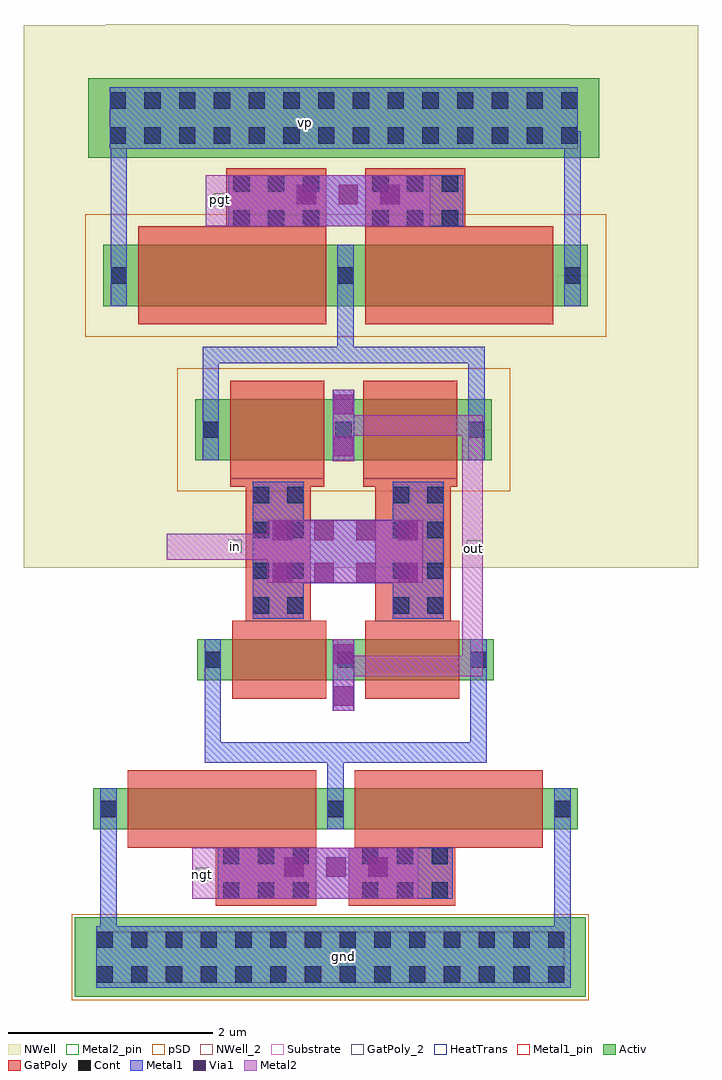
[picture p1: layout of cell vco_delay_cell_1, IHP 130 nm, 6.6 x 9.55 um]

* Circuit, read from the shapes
.subckt vco_delay_cell_1 gnd in ngt out pgt vp
XM1 n1 ngt gnd gnd sg13_lv_nmos w=0.4u l=1.84u m=2
XM2 out in n1 gnd sg13_lv_nmos w=0.4u l=0.92u m=2
XM3 n2 pgt vp vp sg13_lv_pmos w=0.6u l=1.84u m=2
XM4 out in n2 vp sg13_lv_pmos w=0.6u l=0.92u m=2
.ends

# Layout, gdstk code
from math import pi, radians
import gdstk
lib = gdstk.Library(unit=1e-6, precision=1e-09)
def R(c, l, rs):  # rectangles x0, y0, x1, y1
    for r in rs: c.add(gdstk.rectangle(r[:2], r[2:], *l))
def A(c, l, x, y, w, h, nx, ny, dx, dy):  # array of equal rectangles
    R(c, l, [(x+i*dx, y+j*dy, x+i*dx+w, y+j*dy+h) for i in range(nx) for j in range(ny)])
Activ = (1, 0)
GatPoly = (5, 0)
GatPoly_2 = (5, 2)
Cont = (6, 0)
Metal1 = (8, 0)
Metal1_pin = (8, 2)
Metal2 = (10, 0)
Metal2_pin = (10, 2)
pSD = (14, 0)
Via1 = (19, 0)
NWell = (31, 0)
NWell_2 = (31, 2)
Substrate = (40, 0)
HeatTrans = (51, 0)

via_5 = lib.new_cell('Via$5')
R(via_5, GatPoly, [(-0.49,-0.32,0.49,0.32)])
A(via_5, Cont, -0.42, -0.25, 0.16, 0.16, 3, 2, 0.34, 0.34)
R(via_5, Metal1, [(-0.47,-0.25,0.47,0.25)])

via_1 = lib.new_cell('Via$1')
R(via_1, Metal1, [(-0.105,-0.555,0.105,0.555)])
R(via_1, Metal2, [(-0.1,-0.555,0.1,0.555)])
A(via_1, Via1, -0.095, -0.505, 0.19, 0.19, 1, 3, 0, 0.41)

via_2 = lib.new_cell('Via$2')
R(via_2, Metal1, [(-0.105,-0.35,0.105,0.35)])
R(via_2, Metal2, [(-0.1,-0.35,0.1,0.35)])
R(via_2, Via1, [(-0.095,-0.3,0.095,-0.11), (-0.095,0.11,0.095,0.3)])

via_6 = lib.new_cell('Via$6')
R(via_6, Metal1, [(-0.31,-0.76,0.31,0.76)])
R(via_6, Metal2, [(-0.305,-0.76,0.305,0.76)])
A(via_6, Via1, -0.3, -0.71, 0.19, 0.19, 1, 4, 0, 0.41)
A(via_6, Via1, 0.11, -0.71, 0.19, 0.19, 1, 4, 0, 0.41)

via = lib.new_cell('Via')
R(via, GatPoly, [(-0.32,-0.32,0.32,0.32)])
R(via, Cont, [(-0.25,-0.25,-0.09,-0.09), (0.09,-0.25,0.25,-0.09), (-0.25,0.09,-0.09,0.25), (0.09,0.09,0.25,0.25)])
R(via, Metal1, [(-0.3,-0.25,0.3,0.25)])

ptap1 = lib.new_cell('ptap1')
R(ptap1, Activ, [(0,0,5,0.78)])
A(ptap1, Cont, 0.21, 0.14, 0.16, 0.16, 14, 2, 0.34, 0.34)
R(ptap1, Metal1, [(0.21,0.09,4.79,0.69), (0.21,0.14,4.79,0.64)])
R(ptap1, Metal1_pin, [(0.21,0.14,4.79,0.64)])
R(ptap1, pSD, [(-0.03,-0.03,5.03,0.81)])
R(ptap1, Substrate, [(0,0,5,0.78)])
ptap1.add(gdstk.Label('sub!', (2.5,0.01), layer=63, texttype=0))
ptap1.add(gdstk.Label('sub!', (2.5,0.01), layer=40, texttype=0))

ntap1 = lib.new_cell('ntap1')
R(ntap1, Activ, [(0,0,5,0.78)])
A(ntap1, Cont, 0.21, 0.14, 0.16, 0.16, 14, 2, 0.34, 0.34)
R(ntap1, Metal1, [(0.21,0.09,4.79,0.69)])
R(ntap1, Metal1_pin, [(0.21,0.09,4.79,0.69), (0.21,0.14,4.79,0.64)])
R(ntap1, NWell, [(-0.24,-0.24,5.24,1.02), (0,0,5,0.78)])
R(ntap1, NWell_2, [(0,0,5,0.78)])
ntap1.add(gdstk.Label('well', (2.5,0.01), layer=31, texttype=0))
ntap1.add(gdstk.Label('well', (2.5,0.01), layer=63, texttype=0))

nmos = lib.new_cell('nmos')
A(nmos, Activ, 0, 0, 0.3, 0.3, 3, 1, 2.22, 0)
R(nmos, Activ, [(0,0,4.74,0.4)])
R(nmos, GatPoly, [(0.34,-0.18,2.18,0.58), (2.56,-0.18,4.4,0.58)])
R(nmos, GatPoly_2, [(0.34,-0.18,2.18,0.58)])
A(nmos, Cont, 0.07, 0.12, 0.16, 0.16, 3, 1, 2.22, 0)
A(nmos, Metal1, 0.07, 0, 0.16, 0.4, 3, 1, 2.22, 0)
R(nmos, Metal1_pin, [(0.07,0,0.23,0.4), (2.29,0,2.45,0.4)])
R(nmos, HeatTrans, [(0.34,-0.18,2.18,0.58), (2.56,-0.18,4.4,0.58)])
nmos.add(gdstk.Label('nmos', (1.26,0.2), layer=63, texttype=0))
nmos.add(gdstk.Label('nmos', (1.26,0.2), layer=51, texttype=0))
nmos.add(gdstk.Label('nmos', (3.48,0.2), layer=51, texttype=0))

nmos_3 = lib.new_cell('nmos$3')
A(nmos_3, Activ, 0, 0, 0.3, 0.3, 3, 1, 1.3, 0)
R(nmos_3, Activ, [(0,0,2.9,0.4)])
R(nmos_3, GatPoly, [(0.34,-0.18,1.26,0.58), (1.64,-0.18,2.56,0.58)])
R(nmos_3, GatPoly_2, [(0.34,-0.18,1.26,0.58)])
A(nmos_3, Cont, 0.07, 0.12, 0.16, 0.16, 3, 1, 1.3, 0)
A(nmos_3, Metal1, 0.07, 0, 0.16, 0.4, 3, 1, 1.3, 0)
R(nmos_3, Metal1_pin, [(0.07,0,0.23,0.4), (1.37,0,1.53,0.4)])
R(nmos_3, HeatTrans, [(0.34,-0.18,1.26,0.58), (1.64,-0.18,2.56,0.58)])
nmos_3.add(gdstk.Label('nmos', (0.8,0.2), layer=63, texttype=0))
nmos_3.add(gdstk.Label('nmos', (0.8,0.2), layer=51, texttype=0))
nmos_3.add(gdstk.Label('nmos', (2.1,0.2), layer=51, texttype=0))

pmos_3 = lib.new_cell('pmos$3')
A(pmos_3, Activ, 0, 0, 0.3, 0.3, 3, 1, 2.22, 0)
R(pmos_3, Activ, [(0,0,4.74,0.6)])
R(pmos_3, GatPoly, [(0.34,-0.18,2.18,0.78), (0.34,-0.18,2.18,0.78), (2.56,-0.18,4.4,0.78)])
A(pmos_3, Cont, 0.07, 0.22, 0.16, 0.16, 3, 1, 2.22, 0)
R(pmos_3, Metal1, [(0.07,0,0.23,0.6), (0.07,0,0.23,0.6), (2.29,0,2.45,0.6), (2.29,0,2.45,0.6), (4.51,0,4.67,0.6)])
R(pmos_3, pSD, [(-0.18,-0.3,4.92,0.9)])
R(pmos_3, NWell, [(-0.31,-0.31,5.05,0.91)])
R(pmos_3, Substrate, [(4.44,0,4.74,0.3)])
R(pmos_3, HeatTrans, [(0.34,-0.18,2.18,0.78), (2.56,-0.18,4.4,0.78)])
pmos_3.add(gdstk.Label('pmos', (1.26,0.3), layer=63, texttype=0))
pmos_3.add(gdstk.Label('pmos', (1.26,0.3), layer=51, texttype=0))
pmos_3.add(gdstk.Label('pmos', (3.48,0.3), layer=51, texttype=0))

pmos = lib.new_cell('pmos')
A(pmos, Activ, 0, 0, 0.3, 0.3, 3, 1, 1.3, 0)
R(pmos, Activ, [(0,0,2.9,0.6)])
R(pmos, GatPoly, [(0.34,-0.18,1.26,0.78), (0.34,-0.18,1.26,0.78), (1.64,-0.18,2.56,0.78)])
A(pmos, Cont, 0.07, 0.22, 0.16, 0.16, 3, 1, 1.3, 0)
R(pmos, Metal1, [(0.07,0,0.23,0.6), (0.07,0,0.23,0.6), (1.37,0,1.53,0.6), (1.37,0,1.53,0.6), (2.67,0,2.83,0.6)])
R(pmos, pSD, [(-0.18,-0.3,3.08,0.9)])
R(pmos, NWell, [(-0.31,-0.31,3.21,0.91)])
R(pmos, Substrate, [(2.6,0,2.9,0.3)])
R(pmos, HeatTrans, [(0.34,-0.18,1.26,0.78), (1.64,-0.18,2.56,0.78)])
pmos.add(gdstk.Label('pmos', (0.8,0.3), layer=63, texttype=0))
pmos.add(gdstk.Label('pmos', (0.8,0.3), layer=51, texttype=0))
pmos.add(gdstk.Label('pmos', (2.1,0.3), layer=51, texttype=0))

vco_delay_cell_1 = lib.new_cell('vco_delay_cell_1')
R(vco_delay_cell_1, GatPoly, [(-0.14,-3.32,-0.07,-2.75), (0.82,-3.32,1.52,-2.75), (1.08,-0.53,1.19,0.11), (-0.19,-0.09,0.45,0.25), (1.08,-0.03,1.82,0.41), (1.08,0.21,1.19,0.85), (-0.34,0.78,0.58,0.86), (0.96,0.78,1.88,0.86), (-0.02,3.26,0.05,3.83)])
R(vco_delay_cell_1, Metal1, [(2.84,-4.12,2.99,-3.62), (2.83,-3.62,2.99,-2.57), (-1.61,-3.6,-1.45,-2.57), (0.42,-3.25,0.94,-2.75), (0.54,-3.25,0.88,-2.75), (0.61,-2.17,0.77,-1.89), (-0.59,-1.92,0.04,-1.72), (-0.01,-1.92,1.55,-1.72), (1.55,-1.92,2.17,-1.72), (2.01,-1.78,2.17,-1.42), (-0.59,-1.73,-0.43,-1.42), (2.01,-1.52,2.17,-1.3), (-0.59,-1.51,-0.43,-1.33), (2.01,-1.48,2.17,-1.11), (-0.59,-1.38,-0.43,-1.11), (1.25,-0.35,1.75,0.13), (-0.12,-0.34,0.38,0.13), (-0.12,-0.04,0.13,0.23), (1.54,0.09,1.75,0.23), (-0.61,1.63,-0.45,2.04), (1.99,1.63,2.15,2.05), (-0.61,1.99,0.03,2.15), (0,1.99,1.56,2.15), (1.56,1.99,2.15,2.15), (0.71,2.05,0.87,2.5), (0.71,2.38,0.87,2.55), (-1.51,3.15,-1.35,4.02), (2.93,3.15,3.09,4.02), (0.54,3.33,0.66,3.83), (0.66,3.33,1,3.83), (-1.51,4.02,-1.35,4.26), (2.93,4.02,3.09,4.26)])
R(vco_delay_cell_1, Metal1_pin, [(0.705,-3.875,0.835,-3.745), (0.335,4.285,0.465,4.415)])
R(vco_delay_cell_1, Metal2, [(-0.71,-3.25,-0.12,-2.75), (-0.12,-3.25,1.5,-2.75), (0.83,-1.07,2.13,-0.87), (1.93,-1.07,2.13,0.57), (1.93,-0.16,2.13,1.48), (-0.96,0.07,1.37,0.32), (0.83,1.28,2.13,1.48), (-0.58,3.33,0.01,3.83), (0,3.33,1.62,3.83)])
R(vco_delay_cell_1, Metal2_pin, [(-0.675,-3.075,-0.545,-2.945), (1.975,0.13,2.105,0.26), (-0.355,0.135,-0.225,0.265), (-0.495,3.525,-0.365,3.655)])
R(vco_delay_cell_1, NWell, [(-2.36,-0.01,4.24,0.3), (-1.56,0.29,2.98,5.31), (-2.36,0.3,4.24,5.3)])
vco_delay_cell_1.add(gdstk.Reference(via_5, (0.11,3.58)))
vco_delay_cell_1.add(gdstk.Reference(via_5, (1.47,3.58)))
vco_delay_cell_1.add(gdstk.Reference(via_1, (0.815,3.64), rotation=pi/2))
vco_delay_cell_1.add(gdstk.Reference(via_1, (0.695,-2.94), rotation=pi/2))
vco_delay_cell_1.add(gdstk.Reference(via_5, (1.37,-3)))
vco_delay_cell_1.add(gdstk.Reference(via_5, (0.01,-3)))
vco_delay_cell_1.add(gdstk.Reference(via_2, (0.77,-1.06)))
vco_delay_cell_1.add(gdstk.Reference(via_2, (0.77,1.38)))
vco_delay_cell_1.add(gdstk.Reference(via_6, (0.785,0.15), rotation=pi/2))
vco_delay_cell_1.add(gdstk.Reference(via, (1.5,-0.21), rotation=pi/2))
vco_delay_cell_1.add(gdstk.Reference(via, (0.13,-0.21), rotation=pi/2))
vco_delay_cell_1.add(gdstk.Reference(via, (1.5,0.53), rotation=pi/2))
vco_delay_cell_1.add(gdstk.Reference(via, (0.13,0.53), rotation=pi/2))
vco_delay_cell_1.add(gdstk.Reference(ptap1, (-1.86,-4.21)))
vco_delay_cell_1.add(gdstk.Reference(ntap1, (-1.73,4)))
vco_delay_cell_1.add(gdstk.Reference(nmos, (-1.68,-2.57)))
vco_delay_cell_1.add(gdstk.Reference(nmos_3, (-0.66,-1.11)))
vco_delay_cell_1.add(gdstk.Reference(pmos_3, (-1.58,2.55)))
vco_delay_cell_1.add(gdstk.Reference(pmos, (-0.68,1.04)))
vco_delay_cell_1.add(gdstk.Label('ngt', (-0.61,-3.01), layer=10, texttype=25))
vco_delay_cell_1.add(gdstk.Label('pgt', (-0.43,3.59), layer=10, texttype=25))
vco_delay_cell_1.add(gdstk.Label('out', (2.04,0.18), layer=10, texttype=25))
vco_delay_cell_1.add(gdstk.Label('in', (-0.29,0.2), layer=10, texttype=25))
vco_delay_cell_1.add(gdstk.Label('gnd', (0.77,-3.81), layer=8, texttype=25))
vco_delay_cell_1.add(gdstk.Label('vp', (0.4,4.35), layer=8, texttype=25))

lib.write_gds('vco_delay_cell_1.gds')
